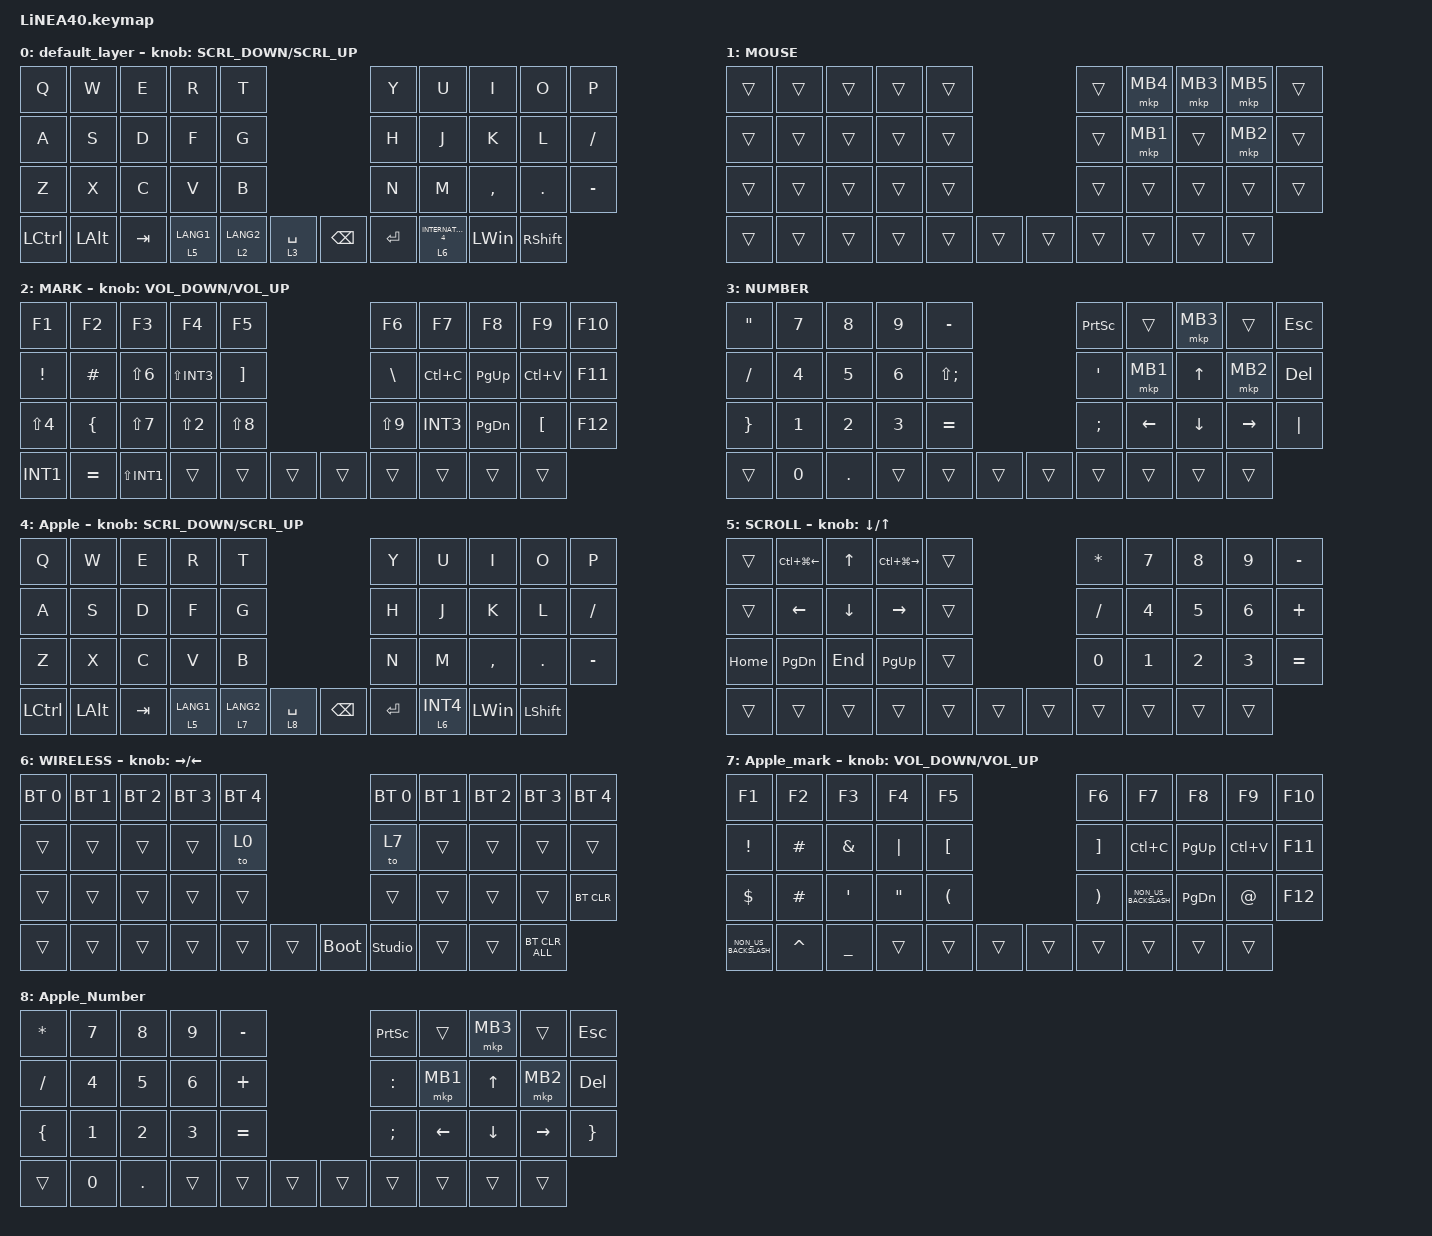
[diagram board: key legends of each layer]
#define ZMK_POINTING_DEFAULT_SCRL_VAL 150

#include <dt-bindings/zmk/input_transform.h>
#include <input/processors.dtsi>
#include <zephyr/dt-bindings/input/input-event-codes.h>
#include <behaviors.dtsi>
#include <dt-bindings/zmk/bt.h>
#include <dt-bindings/zmk/keys.h>
#include <dt-bindings/zmk/pointing.h>

#define MOUSE 1
#define MARK 2
#define CURSOR 3
#define FUNCTION 4
#define SCROLL 5
#define WIRELESS 6

//mouse cursol

&mmv {
    delay-ms = <20>;
    trigger-period-ms = <5>;
    time-to-max-speed-ms = <100>;
    acceleration-exponent = <2>;
};

//mouse scroll

&msc {
    delay-ms = <3>;
    trigger-period-ms = <3>;
    time-to-max-speed-ms = <100>;
    acceleration-exponent = <0>;
};

/ {
    input_processors {
        zip_wheel_scaler: zip_wheel_scaler {
            compatible = "zmk,input-processor-scaler";
            #input-processor-cells = <2>;
            type = <INPUT_EV_REL>;
            codes = <INPUT_REL_WHEEL>;
            track-remainders;
        };
    };
};

&msc_input_listener {
    speed_up {
        layers = <FUNCTION>;
        input-processors = <&zip_wheel_scaler 3 1>; //スクロールを3倍速にする
    };
};

&trackball_listener {
    scroller {
        layers = <SCROLL>;
        input-processors =
            <&zip_xy_transform INPUT_TRANSFORM_Y_INVERT>,
            //スクロール方向を逆転,,,,,,,,,,,
            <&zip_xy_to_scroll_mapper>;
    };
};

/ {
    combos {
        compatible = "zmk,combos";

        ZenkakuHankaku {
            bindings = <&kp GRAVE>;
            key-positions = <11 12>;
        };

        DeleteKey {
            bindings = <&kp DEL>;
            key-positions = <7 8>;
        };

        InsertKey {
            bindings = <&kp INS>;
            key-positions = <6 7>;
        };

        CenterClick {
            bindings = <&mkp MB3>;
            key-positions = <17 16>;
        };

        RightClick {
            bindings = <&mkp MB2>;
            key-positions = <18 17>;
        };

        PrevClick {
            bindings = <&mkp MB4>;
            key-positions = <27 28>;
        };

        ClickNext {
            bindings = <&mkp MB5>;
            key-positions = <26 27>;
        };
    };

    behaviors {
        re_kp: sensor_rotate_kp {
            compatible = "zmk,behavior-sensor-rotate-var";
            #sensor-binding-cells = <2>;
            bindings = <&kp>, <&kp>;
        };

        mouse_scrl: mouse_wheel_scrl {
            compatible = "zmk,behavior-sensor-rotate-var";
            #sensor-binding-cells = <2>;
            bindings = <&msc>, <&msc>;

            tap-ms = <20>;
        };
    };

    keymap {
        compatible = "zmk,keymap";

        default_layer {
            bindings = <
&kp Q      &kp W         &kp E    &kp R        &kp T                                      &kp Y      &kp U  &kp I                  &kp O         &kp P
&kp A      &kp S         &kp D    &kp F        &kp G                                      &kp H      &kp J  &kp K                  &kp L         &kp SLASH
&kp Z      &kp X         &kp C    &kp V        &kp B                                      &kp N      &kp M  &kp COMMA              &kp DOT       &kp MINUS
&kp LCTRL  &kp LEFT_ALT  &kp TAB  &lt 5 LANG1  &lt 2 LANG2  &lt 3 SPACE    &kp BACKSPACE  &kp ENTER         &lt 6 INTERNATIONAL_4  &kp LEFT_WIN  &kp RIGHT_SHIFT
            >;

            sensor-bindings = <&mouse_scrl SCRL_DOWN SCRL_UP>;
        };

        MOUSE {
            bindings = <
&trans  &trans  &trans  &trans  &trans                    &trans  &mkp MB4  &mkp MB3  &mkp MB5  &trans
&trans  &trans  &trans  &trans  &trans                    &trans  &mkp MB1  &trans    &mkp MB2  &trans
&trans  &trans  &trans  &trans  &trans                    &trans  &trans    &trans    &trans    &trans
&trans  &trans  &trans  &trans  &trans  &trans    &trans  &trans            &trans    &trans    &trans
            >;
        };

        MARK {
            bindings = <
&kp F1           &kp F2          &kp F3        &kp F4        &kp F5                               &kp F6         &kp F7     &kp F8         &kp F9            &kp F10
&kp EXCLAMATION  &kp HASH        &kp LS(N6)    &kp LS(INT3)  &kp RIGHT_BRACKET                    &kp BACKSLASH  &kp LC(C)  &kp PAGE_UP    &kp LC(V)         &kp F11
&kp LS(N4)       &kp LEFT_BRACE  &kp LS(N7)    &kp LS(N2)    &kp LS(N8)                           &kp LS(N9)     &kp INT3   &kp PAGE_DOWN  &kp LEFT_BRACKET  &kp F12
&kp INT1         &kp EQUAL       &kp LS(INT1)  &trans        &trans             &trans    &trans  &trans                    &trans         &trans            &trans
            >;

            sensor-bindings = <&re_kp C_VOLUME_DOWN C_VOLUME_UP>;
        };

        NUMBER {
            bindings = <
&kp DOUBLE_QUOTES  &kp NUMBER_7  &kp NUMBER_8  &kp NUMBER_9  &kp MINUS                            &kp PRINTSCREEN   &trans    &mkp MB3  &trans     &kp ESCAPE
&kp SLASH          &kp NUMBER_4  &kp NUMBER_5  &kp NUMBER_6  &kp LS(SEMICOLON)                    &kp SINGLE_QUOTE  &mkp MB1  &kp UP    &mkp MB2   &kp DEL
&kp RIGHT_BRACE    &kp NUMBER_1  &kp NUMBER_2  &kp NUMBER_3  &kp EQUAL                            &kp SEMICOLON     &kp LEFT  &kp DOWN  &kp RIGHT  &kp PIPE
&trans             &kp NUMBER_0  &kp PERIOD    &trans        &trans             &trans    &trans  &trans                      &trans    &trans     &trans
            >;
        };

        Apple {
            bindings = <
&kp Q      &kp W         &kp E    &kp R        &kp T                                      &kp Y    &kp U  &kp I       &kp O         &kp P
&kp A      &kp S         &kp D    &kp F        &kp G                                      &kp H    &kp J  &kp K       &kp L         &kp SLASH
&kp Z      &kp X         &kp C    &kp V        &kp B                                      &kp N    &kp M  &kp COMMA   &kp PERIOD    &kp MINUS
&kp LCTRL  &kp LEFT_ALT  &kp TAB  &lt 5 LANG1  &lt 7 LANG2  &lt 8 SPACE    &kp BACKSPACE  &kp RET         &lt 6 INT4  &kp LEFT_WIN  &kp LEFT_SHIFT
            >;

            sensor-bindings = <&mouse_scrl SCRL_DOWN SCRL_UP>;
        };

        SCROLL {
            bindings = <
&trans    &kp LC(LG(LEFT_ARROW))  &kp UP_ARROW  &kp LC(LG(RIGHT_ARROW))  &trans                    &kp ASTERISK  &kp NUMBER_7  &kp NUMBER_8  &kp NUMBER_9  &kp MINUS
&trans    &kp LEFT_ARROW          &kp DOWN      &kp RIGHT_ARROW          &trans                    &kp SLASH     &kp NUMBER_4  &kp NUMBER_5  &kp NUMBER_6  &kp PLUS
&kp HOME  &kp PAGE_DOWN           &kp END       &kp PAGE_UP              &trans                    &kp NUMBER_0  &kp NUMBER_1  &kp NUMBER_2  &kp NUMBER_3  &kp EQUAL
&trans    &trans                  &trans        &trans                   &trans  &trans    &trans  &trans                      &trans        &trans        &trans
            >;

            sensor-bindings = <&inc_dec_kp DOWN_ARROW UP_ARROW>;
        };

        WIRELESS {
            bindings = <
&bt BT_SEL 0  &bt BT_SEL 1  &bt BT_SEL 2  &bt BT_SEL 3  &bt BT_SEL 4                         &bt BT_SEL 0    &bt BT_SEL 1  &bt BT_SEL 2  &bt BT_SEL 3  &bt BT_SEL 4
&trans        &trans        &trans        &trans        &to 0                                &to 7           &trans        &trans        &trans        &trans
&trans        &trans        &trans        &trans        &trans                               &trans          &trans        &trans        &trans        &bt BT_CLR
&trans        &trans        &trans        &trans        &trans        &trans    &bootloader  &studio_unlock                &trans        &trans        &bt BT_CLR_ALL
            >;

            sensor-bindings = <&inc_dec_kp RIGHT_ARROW LEFT_ARROW>;
        };

        Apple_mark {
            bindings = <
&kp F1                &kp F2     &kp F3          &kp F4             &kp F5                                  &kp F6                 &kp F7                &kp F8         &kp F9       &kp F10
&kp EXCLAMATION       &kp HASH   &kp AMPERSAND   &kp PIPE           &kp LEFT_BRACKET                        &kp RIGHT_BRACKET      &kp LC(C)             &kp PAGE_UP    &kp LC(V)    &kp F11
&kp DOLLAR            &kp HASH   &kp SQT         &kp DOUBLE_QUOTES  &kp LEFT_PARENTHESIS                    &kp RIGHT_PARENTHESIS  &kp NON_US_BACKSLASH  &kp PAGE_DOWN  &kp AT_SIGN  &kp F12
&kp NON_US_BACKSLASH  &kp CARET  &kp UNDERSCORE  &trans             &trans                &trans    &trans  &trans                                       &trans         &trans       &trans
            >;

            sensor-bindings = <&re_kp C_VOLUME_DOWN C_VOLUME_UP>;
        };

        Apple_Number {
            bindings = <
&kp ASTERISK    &kp NUMBER_7  &kp NUMBER_8  &kp NUMBER_9  &kp MINUS                    &kp PRINTSCREEN  &trans    &mkp MB3  &trans     &kp ESCAPE
&kp SLASH       &kp NUMBER_4  &kp NUMBER_5  &kp NUMBER_6  &kp PLUS                     &kp COLON        &mkp MB1  &kp UP    &mkp MB2   &kp DEL
&kp LEFT_BRACE  &kp NUMBER_1  &kp NUMBER_2  &kp NUMBER_3  &kp EQUAL                    &kp SEMICOLON    &kp LEFT  &kp DOWN  &kp RIGHT  &kp RIGHT_BRACE
&trans          &kp NUMBER_0  &kp PERIOD    &trans        &trans     &trans    &trans  &trans                     &trans    &trans     &trans
            >;
        };
    };
};
